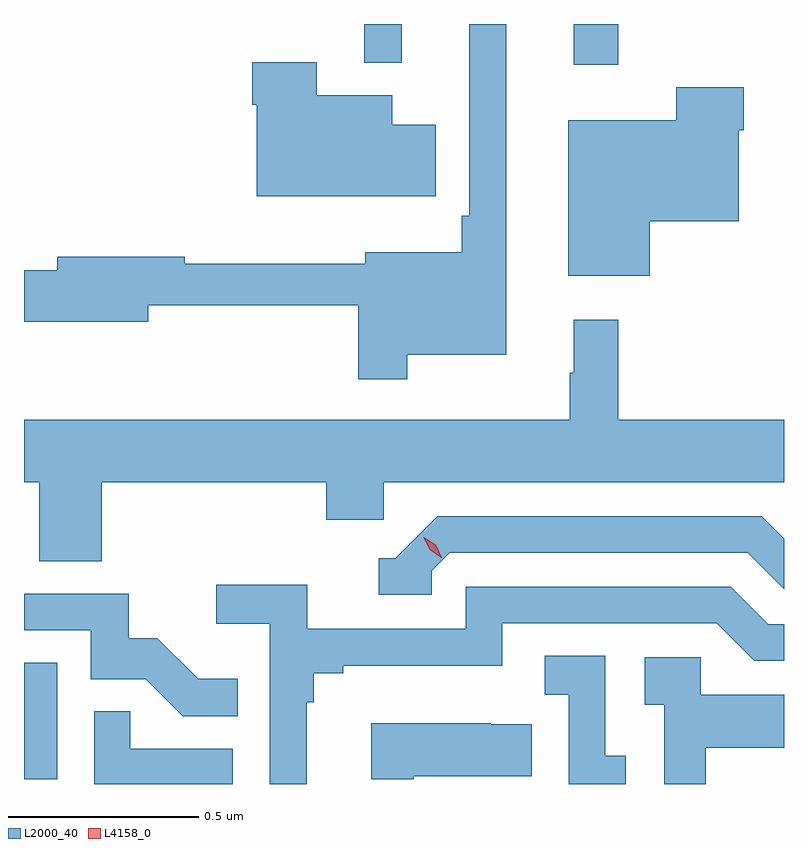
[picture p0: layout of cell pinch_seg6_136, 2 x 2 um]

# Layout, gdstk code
import gdstk
lib = gdstk.Library(unit=1e-6, precision=1e-09)
def R(c, l, rs):  # rectangles x0, y0, x1, y1
    for r in rs: c.add(gdstk.rectangle(r[:2], r[2:], *l))
def P(c, l, *ps):  # polygons
    for p in ps: c.add(gdstk.Polygon(p, *l))
L2000_40 = (2000, 40)
L4158_0 = (4158, 0)

pinch_seg6_136 = lib.new_cell('pinch_seg6_136')
R(pinch_seg6_136, L2000_40, [(986.131,926.574,986.218,926.881), (987.578,928.455,987.695,928.562), (987.027,928.46,987.125,928.562)])
P(pinch_seg6_136, L2000_40, [(987.139,927.692),(987.4,927.692),(987.4,928.562),(987.303,928.562),(987.303,928.057),(987.283,928.057),(987.283,927.961),(987.029,927.961),(987.029,927.931),(986.554,927.931),(986.554,927.95),(986.219,927.95),(986.219,927.914),(986.131,927.914),(986.131,927.779),(986.458,927.779),(986.458,927.822),(987.01,927.822),(987.01,927.627),(987.139,927.627)],
  [(987.214,928.297),(987.1,928.297),(987.1,928.375),(986.902,928.375),(986.902,928.462),(986.732,928.462),(986.732,928.349),(986.744,928.349),(986.744,928.109),(987.214,928.109)],
  [(987.778,928.043),(988.012,928.043),(988.012,928.283),(988.025,928.283),(988.025,928.396),(987.847,928.396),(987.847,928.309),(987.563,928.309),(987.563,927.899),(987.778,927.899)],
  [(986.336,927.356),(986.927,927.356),(986.927,927.258),(987.078,927.258),(987.078,927.356),(988.131,927.356),(988.131,927.52),(987.695,927.52),(987.695,927.784),(987.578,927.784),(987.578,927.644),(987.567,927.644),(987.567,927.52),(986.131,927.52),(986.131,927.356),(986.171,927.356),(986.171,927.148),(986.336,927.148)],
  [(987.204,927.123),(987.252,927.171),(988.035,927.171),(988.131,927.075),(988.131,927.208),(988.072,927.267),(987.219,927.267),(987.108,927.156),(987.065,927.156),(987.065,927.06),(987.204,927.06)],
  [(986.875,926.777),(986.894,926.777),(986.894,926.854),(986.971,926.854),(986.971,926.873),(987.39,926.873),(987.39,926.985),(987.954,926.985),(988.053,926.886),(988.131,926.886),(988.131,926.982),(988.09,926.982),(987.991,927.081),(987.294,927.081),(987.294,926.97),(986.876,926.97),(986.876,927.086),(986.637,927.086),(986.637,926.984),(986.778,926.984),(986.778,926.562),(986.875,926.562)],
  [(986.693,926.839),(986.589,926.839),(986.482,926.946),(986.406,926.946),(986.406,927.063),(986.131,927.063),(986.131,926.967),(986.307,926.967),(986.307,926.838),(986.451,926.838),(986.549,926.74),(986.693,926.74)],
  [(987.715,926.637),(987.66,926.637),(987.66,926.9),(987.501,926.9),(987.501,926.797),(987.564,926.797),(987.564,926.562),(987.715,926.562)],
  [(987.925,926.657),(988.131,926.657),(988.131,926.797),(987.912,926.797),(987.912,926.895),(987.765,926.895),(987.765,926.771),(987.816,926.771),(987.816,926.562),(987.925,926.562)],
  [(986.68,926.655),(986.411,926.655),(986.411,926.753),(986.316,926.753),(986.316,926.562),(986.68,926.562)],
  [(987.157,926.582),(987.467,926.582),(987.467,926.719),(987.359,926.719),(987.359,926.722),(987.045,926.722),(987.045,926.575),(987.157,926.575)])
P(pinch_seg6_136, L4158_0, [(987.229,927.158),(987.199,927.178),(987.183,927.211),(987.183,927.211),(987.183,927.211),(987.214,927.191),(987.23,927.158),(987.23,927.158)])

lib.write_gds('pinch_seg6_136.gds')
